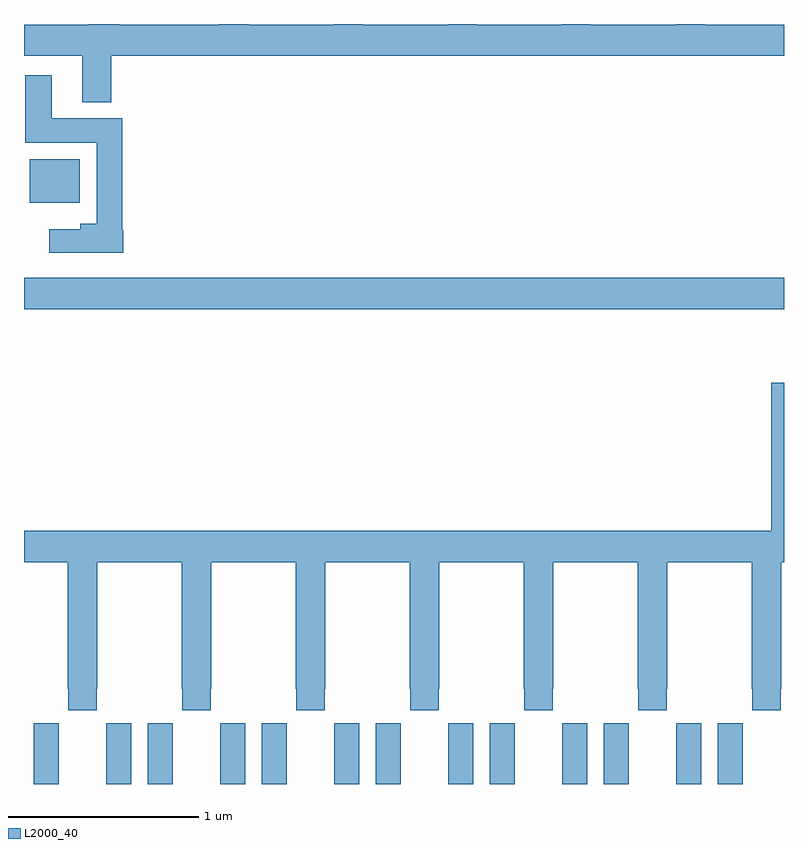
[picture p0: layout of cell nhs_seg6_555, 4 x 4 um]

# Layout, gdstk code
import gdstk
lib = gdstk.Library(unit=1e-6, precision=1e-09)
def R(c, l, rs):  # rectangles x0, y0, x1, y1
    for r in rs: c.add(gdstk.rectangle(r[:2], r[2:], *l))
def P(c, l, *ps):  # polygons
    for p in ps: c.add(gdstk.Polygon(p, *l))
L2000_40 = (2000, 40)

nhs_seg6_555 = lib.new_cell('nhs_seg6_555')
R(nhs_seg6_555, L2000_40, [(145,950,149,950.164), (145.031,950.558,145.294,950.788)])
P(nhs_seg6_555, L2000_40, [(145.46,951.332),(149,951.332),(149,951.496),(148.584,951.496),(148.584,951.5),(148.429,951.5),(148.429,951.496),(147.984,951.496),(147.984,951.5),(147.829,951.5),(147.829,951.496),(147.384,951.496),(147.384,951.5),(147.229,951.5),(147.229,951.496),(146.784,951.496),(146.784,951.5),(146.629,951.5),(146.629,951.496),(146.184,951.496),(146.184,951.5),(146.024,951.5),(146.024,951.496),(145.502,951.496),(145.502,951.5),(145.342,951.5),(145.342,951.496),(145,951.496),(145,951.332),(145.307,951.332),(145.307,951.089),(145.46,951.089)],
  [(145.522,950.415),(145.517,950.415),(145.517,951.004),(145.147,951.004),(145.147,951.229),(145.007,951.229),(145.007,950.876),(145.382,950.876),(145.382,950.449),(145.295,950.449),(145.295,950.419),(145.134,950.419),(145.134,950.297),(145.522,950.297)],
  [(145.383,948.001),(145.386,948.001),(145.386,948.668),(145.831,948.668),(145.831,948.001),(145.833,948.001),(145.833,947.889),(145.983,947.889),(145.983,948.001),(145.986,948.001),(145.986,948.668),(146.431,948.668),(146.431,948.001),(146.433,948.001),(146.433,947.889),(146.583,947.889),(146.583,948.001),(146.586,948.001),(146.586,948.668),(147.031,948.668),(147.031,948.001),(147.033,948.001),(147.033,947.889),(147.183,947.889),(147.183,948.001),(147.186,948.001),(147.186,948.668),(147.631,948.668),(147.631,948.001),(147.633,948.001),(147.633,947.889),(147.783,947.889),(147.783,948.001),(147.786,948.001),(147.786,948.668),(148.231,948.668),(148.231,948.001),(148.233,948.001),(148.233,947.889),(148.383,947.889),(148.383,948.001),(148.386,948.001),(148.386,948.668),(148.831,948.668),(148.831,948.001),(148.833,948.001),(148.833,947.889),(148.983,947.889),(148.983,948.001),(148.986,948.001),(148.986,948.668),(149,948.668),(149,949.612),(148.934,949.612),(148.934,948.832),(145,948.832),(145,948.668),(145.231,948.668),(145.231,948.001),(145.233,948.001),(145.233,947.889),(145.383,947.889)],
  [(147.583,947.708),(147.582,947.708),(147.582,947.821),(147.452,947.821),(147.452,947.5),(147.583,947.5)],
  [(148.783,947.708),(148.782,947.708),(148.782,947.821),(148.652,947.821),(148.652,947.5),(148.783,947.5)],
  [(148.564,947.821),(148.434,947.821),(148.434,947.708),(148.433,947.708),(148.433,947.5),(148.564,947.5)],
  [(148.183,947.708),(148.182,947.708),(148.182,947.821),(148.052,947.821),(148.052,947.5),(148.183,947.5)],
  [(147.834,947.821),(147.834,947.708),(147.833,947.708),(147.833,947.5),(147.964,947.5),(147.964,947.821)],
  [(147.364,947.821),(147.234,947.821),(147.234,947.708),(147.233,947.708),(147.233,947.5),(147.364,947.5)],
  [(146.983,947.708),(146.982,947.708),(146.982,947.821),(146.852,947.821),(146.852,947.5),(146.983,947.5)],
  [(146.764,947.821),(146.634,947.821),(146.634,947.708),(146.633,947.708),(146.633,947.5),(146.764,947.5)],
  [(146.383,947.708),(146.382,947.708),(146.382,947.821),(146.252,947.821),(146.252,947.5),(146.383,947.5)],
  [(146.164,947.821),(146.034,947.821),(146.034,947.708),(146.033,947.708),(146.033,947.5),(146.164,947.5)],
  [(145.783,947.708),(145.782,947.708),(145.782,947.821),(145.652,947.821),(145.652,947.5),(145.783,947.5)],
  [(145.564,947.821),(145.434,947.821),(145.434,947.708),(145.433,947.708),(145.433,947.5),(145.564,947.5)],
  [(145.182,947.708),(145.182,947.821),(145.052,947.821),(145.052,947.5),(145.183,947.5),(145.183,947.708)])

lib.write_gds('nhs_seg6_555.gds')
